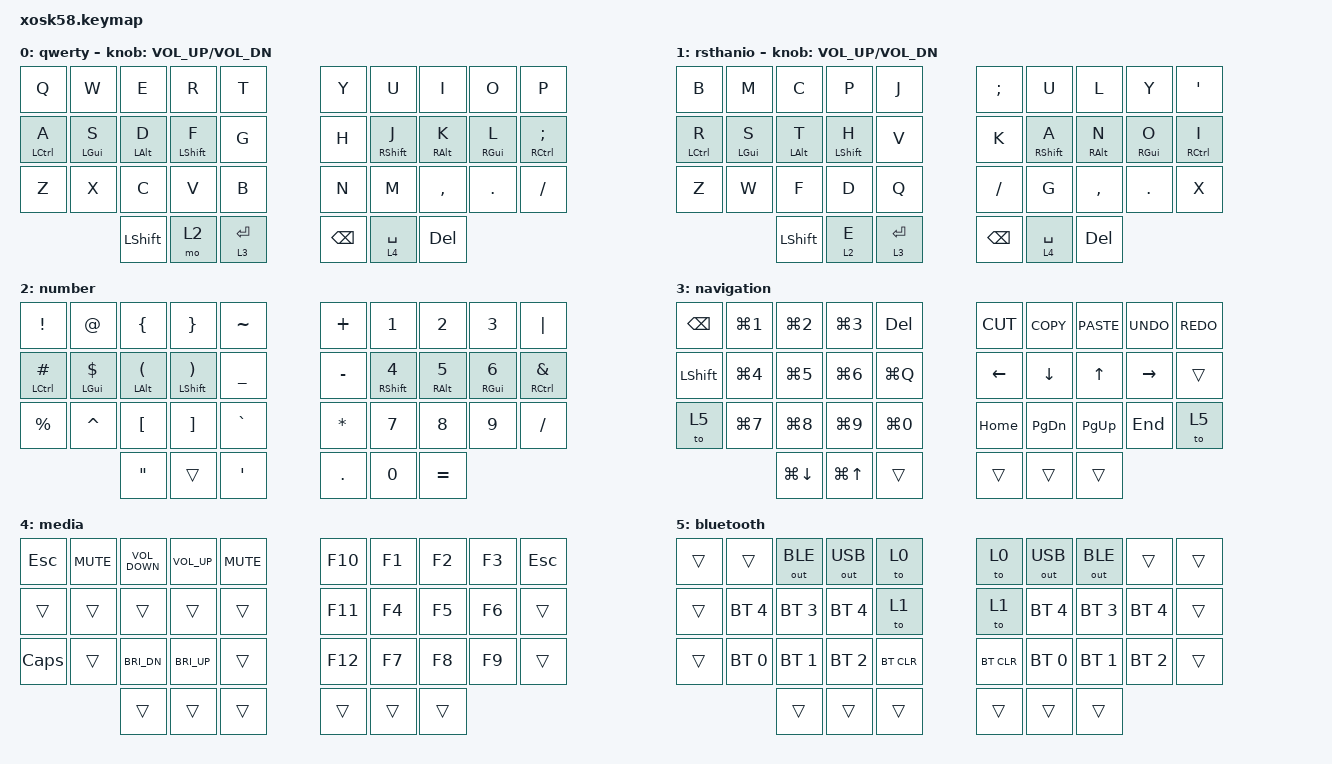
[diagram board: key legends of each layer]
/*
 * Copyright (c) 2020 The ZMK Contributors
 *
 * SPDX-License-Identifier: MIT
 */

#include <behaviors.dtsi>
#include <dt-bindings/zmk/bt.h>
#include <dt-bindings/zmk/keys.h>
#include <dt-bindings/zmk/outputs.h>

&mt {
    flavor = "tap-preferred";
    tapping-term-ms = <350>;
    require-prior-idle-ms = <150>;
};

&lt {
    require-prior-idle-ms = <150>;
    flavor = "balanced";
};

/ {
    combos {
        compatible = "zmk,combos";

        escapeCombo {
            bindings = <&kp ESCAPE>;
            key-positions = <0 1>;
            layers = <0 1 2 3 4>;
        };

        tabCombo {
            bindings = <&kp TAB>;
            key-positions = <10 11>;
            layers = <0 1 2 3 4>;
        };

        resetLeft {
            bindings = <&sys_reset>;
            key-positions = <0 1 2>;
            layers = <0 2 1 3 4>;
        };

        comment {
            bindings = <&kp LC(SLASH)>;
            key-positions = <22 23>;
        };

        bootloaderLeft {
            bindings = <&bootloader>;
            key-positions = <2 3 4>;
        };

        xCombo {
            bindings = <&kp X>;
            key-positions = <21 22>;
        };

        spaceCombo {
            bindings = <&kt SPACE>;
            key-positions = <23 24>;
        };
    };

    keymap {
        compatible = "zmk,keymap";

        qwerty {
            // ------------------------------------------------------------------------
            // |  Q  |  W  |  E   |  R   |  T   |  Y   |  U    |  I    |  O   |   P   | 
            // |  A  |  S  |  D   |  F   |  G   |  H   |  J    |  K    |  L   |   ;   |  
            // |  Z  |  X  |  C   |  V   |  B   |  N   |  M    |  ,    |  .   |   /   | 
            //             | GUI  | LOWER|  SPACE |  ENTER | RAISE| BSPC  |

            bindings = <
&kp Q               &kp W           &kp E           &kp R             &kp T          &kp Y          &kp U              &kp I            &kp O            &kp P
&mt LEFT_CONTROL A  &mt LEFT_GUI S  &mt LEFT_ALT D  &mt LEFT_SHIFT F  &kp G          &kp H          &mt RIGHT_SHIFT J  &mt RIGHT_ALT K  &mt RIGHT_GUI L  &mt RIGHT_CONTROL SEMI
&kp Z               &kp X           &kp C           &kp V             &kp B          &kp N          &kp M              &kp COMMA        &kp DOT          &kp FSLH
                                    &kp LEFT_SHIFT  &mo 2             &lt 3 ENTER    &kp BACKSPACE  &lt 4 SPACE        &kp DELETE
            >;

            sensor-bindings = <&inc_dec_kp C_VOL_UP C_VOL_DN>;
        };

        rsthanio {
            bindings = <
&kp B               &kp M           &kp C           &kp P             &kp J          &kp SEMI       &kp U              &kp L            &kp Y            &kp SQT
&mt LEFT_CONTROL R  &mt LEFT_GUI S  &mt LEFT_ALT T  &mt LEFT_SHIFT H  &kp V          &kp K          &mt RIGHT_SHIFT A  &mt RIGHT_ALT N  &mt RIGHT_GUI O  &mt RIGHT_CONTROL I
&kp Z               &kp W           &kp F           &kp D             &kp Q          &kp FSLH       &kp G              &kp COMMA        &kp DOT          &kp X
                                    &kp LEFT_SHIFT  &lt 2 E           &lt 3 ENTER    &kp BACKSPACE  &lt 4 SPACE        &kp DELETE
            >;

            sensor-bindings = <&inc_dec_kp C_VOL_UP C_VOL_DN>;
        };

        number {
            bindings = <
&kp EXCLAMATION  &kp AT_SIGN      &kp LEFT_BRACE             &kp RIGHT_BRACE              &kp TILDE         &kp PLUS      &kp NUMBER_1              &kp NUMBER_2      &kp NUMBER_3       &kp PIPE
&mt LCTRL HASH   &mt LGUI DOLLAR  &mt LALT LEFT_PARENTHESIS  &mt LSHFT RIGHT_PARENTHESIS  &kp UNDERSCORE    &kp MINUS     &mt RIGHT_SHIFT NUMBER_4  &mt RIGHT_ALT N5  &mt RGUI NUMBER_6  &mt RCTRL AMPERSAND
&kp PERCENT      &kp CARET        &kp LEFT_BRACKET           &kp RIGHT_BRACKET            &kp GRAVE         &kp ASTERISK  &kp N7                    &kp N8            &kp N9             &kp SLASH
                                  &kp DOUBLE_QUOTES          &trans                       &kp SQT           &kp PERIOD    &kp N0                    &kp EQUAL
            >;
        };

        navigation {
            bindings = <
&kp BSPC   &kp LG(NUMBER_1)  &kp LG(NUMBER_2)  &kp LG(NUMBER_3)  &kp DEL       &kp K_CUT  &kp K_COPY  &kp K_PASTE  &kp K_UNDO  &kp K_REDO
&kp LSHFT  &kp LG(NUMBER_4)  &kp LG(N5)        &kp LG(N6)        &kp LG(Q)     &kp LEFT   &kp DOWN    &kp UP       &kp RIGHT   &trans
&to 5      &kp LG(N7)        &kp LG(N8)        &kp LG(N9)        &kp LG(N0)    &kp HOME   &kp PG_DN   &kp PG_UP    &kp END     &to 5
                             &kp LG(DOWN)      &kp LG(UP)        &trans        &trans     &trans      &trans
            >;
        };

        media {
            bindings = <
&kp ESC   &kp C_MUTE  &kp C_VOLUME_DOWN  &kp C_VOLUME_UP  &kp C_MUTE    &kp F10  &kp F1  &kp F2  &kp F3  &kp ESC
&trans    &trans      &trans             &trans           &trans        &kp F11  &kp F4  &kp F5  &kp F6  &trans
&kp CAPS  &trans      &kp C_BRI_DN       &kp C_BRI_UP     &trans        &kp F12  &kp F7  &kp F8  &kp F9  &trans
                      &trans             &trans           &trans        &trans   &trans  &trans
            >;
        };

        bluetooth {
            bindings = <
&trans  &trans        &out OUT_BLE  &out OUT_USB  &to 0         &to 0       &out OUT_USB  &out OUT_BLE  &trans        &trans
&trans  &bt BT_SEL 4  &bt BT_SEL 3  &bt BT_SEL 4  &to 1         &to 1       &bt BT_SEL 4  &bt BT_SEL 3  &bt BT_SEL 4  &trans
&trans  &bt BT_SEL 0  &bt BT_SEL 1  &bt BT_SEL 2  &bt BT_CLR    &bt BT_CLR  &bt BT_SEL 0  &bt BT_SEL 1  &bt BT_SEL 2  &trans
                      &trans        &trans        &trans        &trans      &trans        &trans
            >;
        };
    };
};
